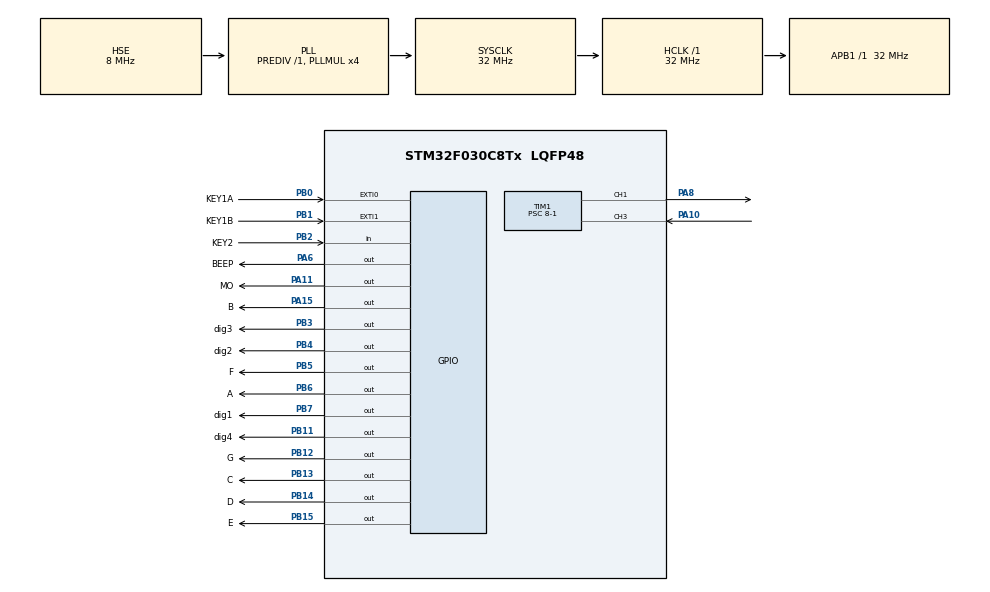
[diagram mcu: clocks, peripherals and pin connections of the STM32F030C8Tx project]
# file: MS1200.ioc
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Mcu.Family=STM32F0
Mcu.Name=STM32F030C8Tx
Mcu.Package=LQFP48
NVIC.EXTI0_1_IRQn=true\:0\:0\:false\:false\:true\:true\:true
NVIC.TIM1_BRK_UP_TRG_COM_IRQn=true\:0\:0\:false\:false\:true\:true\:true
NVIC.TIM1_CC_IRQn=true\:0\:0\:false\:false\:true\:true\:true
NVIC.TIM3_IRQn=true\:0\:0\:false\:false\:true\:true\:true
PA10.Signal=S_TIM1_CH3
PA11.GPIO_Label=MO
PA11.GPIO_PuPd=GPIO_PULLDOWN
PA11.PinState=GPIO_PIN_RESET
PA11.Signal=GPIO_Output
PA15.GPIO_Label=B
PA15.GPIO_PuPd=GPIO_PULLUP
PA15.GPIO_Speed=GPIO_SPEED_FREQ_HIGH
PA15.PinState=GPIO_PIN_SET
PA15.Signal=GPIO_Output
PA6.GPIO_Label=BEEP
PA6.GPIO_PuPd=GPIO_PULLDOWN
PA6.Signal=GPIO_Output
PA8.Signal=S_TIM1_CH1
PB0.GPIO_Label=KEY1A
PB0.Signal=GPXTI0
PB1.GPIO_Label=KEY1B
PB1.Signal=GPXTI1
PB11.GPIO_Label=dig4
PB11.GPIO_PuPd=GPIO_PULLDOWN
PB11.GPIO_Speed=GPIO_SPEED_FREQ_HIGH
PB11.Signal=GPIO_Output
PB12.GPIO_Label=G
PB12.GPIO_PuPd=GPIO_PULLUP
PB12.GPIO_Speed=GPIO_SPEED_FREQ_HIGH
PB12.PinState=GPIO_PIN_SET
PB12.Signal=GPIO_Output
PB13.GPIO_Label=C
PB13.GPIO_PuPd=GPIO_PULLUP
PB13.GPIO_Speed=GPIO_SPEED_FREQ_HIGH
PB13.PinState=GPIO_PIN_SET
PB13.Signal=GPIO_Output
PB14.GPIO_Label=D
PB14.GPIO_PuPd=GPIO_PULLUP
PB14.GPIO_Speed=GPIO_SPEED_FREQ_HIGH
PB14.PinState=GPIO_PIN_SET
PB14.Signal=GPIO_Output
PB15.GPIO_Label=E
PB15.GPIO_PuPd=GPIO_PULLUP
PB15.GPIO_Speed=GPIO_SPEED_FREQ_HIGH
PB15.PinState=GPIO_PIN_SET
PB15.Signal=GPIO_Output
PB2.GPIO_Label=KEY2
PB2.GPIO_PuPd=GPIO_PULLUP
PB2.Signal=GPIO_Input
PB3.GPIO_Label=dig3
PB3.GPIO_PuPd=GPIO_PULLDOWN
PB3.GPIO_Speed=GPIO_SPEED_FREQ_HIGH
PB3.Signal=GPIO_Output
PB4.GPIO_Label=dig2
PB4.GPIO_PuPd=GPIO_PULLDOWN
PB4.GPIO_Speed=GPIO_SPEED_FREQ_HIGH
PB4.Signal=GPIO_Output
PB5.GPIO_Label=F
PB5.GPIO_PuPd=GPIO_PULLUP
PB5.GPIO_Speed=GPIO_SPEED_FREQ_HIGH
PB5.PinState=GPIO_PIN_SET
PB5.Signal=GPIO_Output
PB6.GPIO_Label=A
PB6.GPIO_PuPd=GPIO_PULLUP
PB6.GPIO_Speed=GPIO_SPEED_FREQ_HIGH
PB6.PinState=GPIO_PIN_SET
PB6.Signal=GPIO_Output
PB7.GPIO_Label=dig1
PB7.GPIO_PuPd=GPIO_PULLDOWN
PB7.GPIO_Speed=GPIO_SPEED_FREQ_HIGH
PB7.Signal=GPIO_Output
PF0-OSC_IN.Mode=HSE-External-Oscillator
PF0-OSC_IN.Signal=RCC_OSC_IN
PF1-OSC_OUT.Mode=HSE-External-Oscillator
PF1-OSC_OUT.Signal=RCC_OSC_OUT
ProjectManager.HeapSize=0x200
ProjectManager.StackSize=0x400
ProjectManager.TargetToolchain=MDK-ARM V5
RCC.AHBFreq_Value=32000000
RCC.APB1Freq_Value=32000000
RCC.APB1TimFreq_Value=32000000
RCC.HCLKFreq_Value=32000000
RCC.PLLMUL=RCC_PLL_MUL4
RCC.PLLSourceVirtual=RCC_PLLSOURCE_HSE
RCC.SYSCLKFreq_VALUE=32000000
RCC.SYSCLKSource=RCC_SYSCLKSOURCE_PLLCLK
SH.S_TIM1_CH1.0=TIM1_CH1,PWM Generation1 CH1
SH.S_TIM1_CH3.0=TIM1_CH3,Input_Capture3_from_TI3
TIM1.AutoReloadPreload=TIM_AUTORELOAD_PRELOAD_ENABLE
TIM1.Channel-Input_Capture3_from_TI3=TIM_CHANNEL_3
TIM1.Channel-PWM\ Generation1\ CH1=TIM_CHANNEL_1
TIM1.Period=200-1
TIM1.Prescaler=8-1
TIM3.Period=1000-1
TIM3.Prescaler=32-1
VP_TIM1_VS_ClockSourceINT.Mode=Internal
VP_TIM3_VS_ClockSourceINT.Mode=Internal
board=custom

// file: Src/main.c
/* USER CODE BEGIN Header */
/**
  ******************************************************************************
  * @file           : main.c
  * @brief          : Main program body
  ******************************************************************************
  * @attention
  *
  * <h2><center>&copy; Copyright (c) 2020 STMicroelectronics.
  * All rights reserved.</center></h2>
  *
  * This software component is licensed by ST under BSD 3-Clause license,
  * the "License"; You may not use this file except in compliance with the
  * License. You may obtain a copy of the License at:
  *                        opensource.org/licenses/BSD-3-Clause
  *
  ******************************************************************************
  */
/* USER CODE END Header */

#include "main.h"
#include "tim.h"
#include "gpio.h"

/* USER CODE BEGIN Includes */
#include "led.h"
#include "user.h"
#include "key.h"

/* USER CODE END Includes */

/* USER CODE BEGIN PD */
extern uint8_t CAPTURE_Status;//捕获状态 1：捕获中    0：捕获结束
extern uint16_t TIM1CH1_CAPTURE_STA;	//捕获周期数
extern uint16_t beep_time;
/* USER CODE END PD */

void SystemClock_Config(void);

int main(void)
{

  /* MCU Configuration--------------------------------------------------------*/

  /* Reset of all peripherals, Initializes the Flash interface and the Systick. */
  HAL_Init();

  /* Configure the system clock */
  SystemClock_Config();

  /* Initialize all configured peripherals */
  MX_GPIO_Init();
  MX_TIM1_Init();
  MX_TIM3_Init();
  /* USER CODE BEGIN 2 */
	HAL_TIM_Base_Start_IT(&htim1);
	HAL_TIM_Base_Start_IT(&htim3);
	HAL_TIM_PWM_Start(&htim1, TIM_CHANNEL_1);
	HAL_TIM_IC_Start_IT(&htim1, TIM_CHANNEL_3);
	sys_init();
	HAL_GPIO_WritePin(GPIOA, BEEP_Pin, GPIO_PIN_SET);
	beep_time=10;
  /* USER CODE END 2 */

  /* Infinite loop */
  /* USER CODE BEGIN WHILE */
  while (1)
  {
		display();
		Key_Handle();
    /* USER CODE END WHILE */

  }
}

void SystemClock_Config(void)
{
  RCC_OscInitTypeDef RCC_OscInitStruct = {0};
  RCC_ClkInitTypeDef RCC_ClkInitStruct = {0};

  /** Initializes the CPU, AHB and APB busses clocks
  */
  RCC_OscInitStruct.OscillatorType = RCC_OSCILLATORTYPE_HSE;
  RCC_OscInitStruct.HSEState = RCC_HSE_ON;
  RCC_OscInitStruct.PLL.PLLState = RCC_PLL_ON;
  RCC_OscInitStruct.PLL.PLLSource = RCC_PLLSOURCE_HSE;
  RCC_OscInitStruct.PLL.PLLMUL = RCC_PLL_MUL4;
  RCC_OscInitStruct.PLL.PREDIV = RCC_PREDIV_DIV1;
  if (HAL_RCC_OscConfig(&RCC_OscInitStruct) != HAL_OK)
  {
    Error_Handler();
  }
  /** Initializes the CPU, AHB and APB busses clocks
  */
  RCC_ClkInitStruct.ClockType = RCC_CLOCKTYPE_HCLK|RCC_CLOCKTYPE_SYSCLK
                              |RCC_CLOCKTYPE_PCLK1;
  RCC_ClkInitStruct.SYSCLKSource = RCC_SYSCLKSOURCE_PLLCLK;
  RCC_ClkInitStruct.AHBCLKDivider = RCC_SYSCLK_DIV1;
  RCC_ClkInitStruct.APB1CLKDivider = RCC_HCLK_DIV1;

  if (HAL_RCC_ClockConfig(&RCC_ClkInitStruct, FLASH_LATENCY_1) != HAL_OK)
  {
    Error_Handler();
  }
}

/* USER CODE BEGIN 4 */
extern uint16_t dis_speed;
extern uint16_t set_speed;//设定速度
extern uint16_t rel_speed;
uint8_t Wise_Flag;
uint8_t UP_Flag;
uint8_t ADD_Mode;
uint32_t Set_Cnt1;//旋钮转速计数
uint32_t speed_set1;//旋钮转速
uint32_t next_cnt1;//旋钮时钟时间
uint32_t Set_Cnt2;//旋钮转速计数
uint32_t speed_set2;//旋钮转速
uint32_t next_cnt2;//旋钮时钟时间
uint8_t Set_Dis;
void HAL_GPIO_EXTI_Callback(uint16_t GPIO_Pin)
{
	if(GPIO_Pin == KEY1A_Pin)
	{

				if(HAL_GPIO_ReadPin(KEY1B_GPIO_Port,KEY1B_Pin)==0)
				{
					if(Wise_Flag==0)
					{
              Set_Cnt2++;
							if(Set_Cnt2>2)
							{
									uint16_t first2= HAL_GetTick();
									speed_set2=120000/(first2-next_cnt2);
									next_cnt2=first2;
									Set_Cnt2=0;
							}
							if(speed_set2>1000)
			     	   set_speed=set_speed+80;
							else
								set_speed=set_speed+10;
							//set_speed=1800;
						if(set_speed>rel_speed)
							ADD_Mode =1;
						else
							ADD_Mode =0;

			    	UP_Flag=5;
						Set_Dis=150;
					}

						if(set_speed>1800) set_speed=1800;
						if(set_speed<350) set_speed=350;
				}
				else if(HAL_GPIO_ReadPin(KEY1B_GPIO_Port,KEY1B_Pin)==1)
				{

					 if(UP_Flag ==0)
					{
						Set_Cnt1++;
							if(Set_Cnt1>2)
							{
									uint16_t first1= HAL_GetTick();
									speed_set1=120000/(first1-next_cnt1);
									next_cnt1=first1;
									Set_Cnt1=0;
							}
							if(speed_set1>1000)
								set_speed=set_speed-80;
							else
							set_speed=set_speed-10;
//							//set_speed=400;
							if(set_speed>rel_speed)
								ADD_Mode =1;
							else
								ADD_Mode =0;
							Wise_Flag=5;

							Set_Dis=150;
						}
					if(set_speed>1800) set_speed=1800;
						if(set_speed<350) set_speed=350;
				}
		}
}
/* USER CODE END 4 */

void Error_Handler(void)
{
}

/************************ (C) COPYRIGHT STMicroelectronics *****END OF FILE****/
